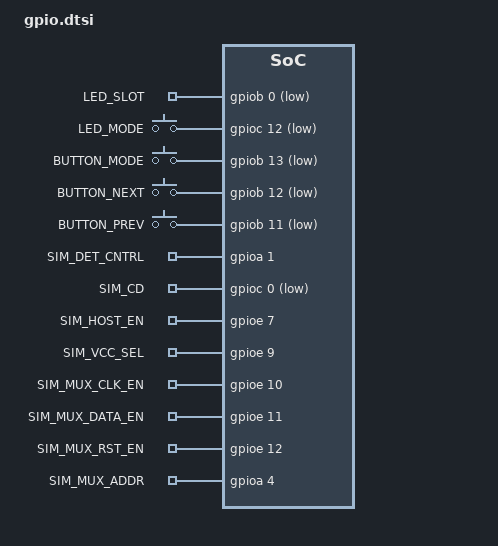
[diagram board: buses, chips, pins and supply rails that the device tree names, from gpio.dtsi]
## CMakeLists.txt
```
# Copyright 2023 The ChromiumOS Authors
# Use of this source code is governed by a BSD-style license that can be
# found in the LICENSE file.

# Placeholder for future CLs in the starfish/src and starfish/include

cmake_minimum_required(VERSION 3.20.5)

find_package(Zephyr REQUIRED HINTS "${ZEPHYR_BASE}")

zephyr_include_directories(include)

zephyr_library_sources(src/buttons.c)
zephyr_library_sources(src/leds.c)
zephyr_library_sources(src/sim.c)
zephyr_library_sources(src/sim_button.c)
zephyr_library_sources(src/sim_console.c)
zephyr_library_sources(src/sim_gpio.c)
zephyr_library_sources(src/sim_info.c)
zephyr_library_sources(src/sim_persist.c)
zephyr_library_sources(src/sim_timer.c)
```

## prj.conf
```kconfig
# Copyright 2023 The ChromiumOS Authors
# Use of this source code is governed by a BSD-style license that can be
# found in the LICENSE file.

# Configure Debug Logger
CONFIG_LOG=y
CONFIG_LOG_BACKEND_FORMAT_TIMESTAMP=n
CONFIG_LOG_BUFFER_SIZE=4096
CONFIG_LOG_DEFAULT_LEVEL=4
CONFIG_LOG_TIMESTAMP_64BIT=y

# Configure Shell
CONFIG_SHELL=y
CONFIG_SHELL_ECHO_STATUS=y
CONFIG_SHELL_GETOPT=n
CONFIG_SHELL_HELP=y
CONFIG_SHELL_HELP_OPT_PARSE=n
CONFIG_SHELL_HISTORY=y
CONFIG_SHELL_LOG_BACKEND=y
CONFIG_SHELL_LOG_FORMAT_TIMESTAMP=n
CONFIG_SHELL_MINIMAL=y
CONFIG_SHELL_PROMPT_UART="Starfish:~$ "

# Configure USB
CONFIG_USB_DEVICE_INITIALIZE_AT_BOOT=y
CONFIG_USB_DEVICE_PID=0x5060
CONFIG_USB_DEVICE_PRODUCT="Starfish"
CONFIG_USB_DEVICE_STACK=y
CONFIG_USE_DT_CODE_PARTITION=y
```

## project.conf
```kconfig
# Copyright 2023 The ChromiumOS Authors
# Use of this source code is governed by a BSD-style license that can be
# found in the LICENSE file.

# Configure Board name
CONFIG_BOARD_STARFISH_V1=y

# Enable the DFU Bootloader
CONFIG_DFU_BOOTLOADER=y

# Configure Debug Logger
CONFIG_LOG=y
CONFIG_LOG_BACKEND_FORMAT_TIMESTAMP=n
CONFIG_LOG_BUFFER_SIZE=4096
CONFIG_LOG_DEFAULT_LEVEL=3
CONFIG_LOG_TIMESTAMP_64BIT=y

CONFIG_ADC=y
CONFIG_ADC_SHELL=y
CONFIG_ADC_STM32=y
CONFIG_ADC_LOG_LEVEL_DBG=y

# Configure Shell
CONFIG_SHELL=y
CONFIG_SHELL_ECHO_STATUS=y
CONFIG_SHELL_GETOPT=n
CONFIG_SHELL_HELP=y
CONFIG_SHELL_HELP_OPT_PARSE=n
CONFIG_SHELL_HISTORY=y
CONFIG_SHELL_LOG_BACKEND=y
CONFIG_SHELL_LOG_FORMAT_TIMESTAMP=n
CONFIG_SHELL_MINIMAL=y
CONFIG_SHELL_PROMPT_UART="Starfish:~$ "

# Configure USB
CONFIG_USB_DEVICE_INITIALIZE_AT_BOOT=y
CONFIG_USB_DEVICE_PID=0x5060
CONFIG_USB_DEVICE_PRODUCT="Starfish"
CONFIG_USB_DEVICE_STACK=y

# Configure Flash partitions
CONFIG_USE_DT_CODE_PARTITION=y


CONFIG_FLASH=y
CONFIG_FLASH_PAGE_LAYOUT=y
CONFIG_FLASH_MAP=y
CONFIG_FCB=y

CONFIG_SETTINGS=y
CONFIG_SETTINGS_RUNTIME=y
CONFIG_SETTINGS_FCB=y

CONFIG_MPU_ALLOW_FLASH_WRITE=y

CONFIG_RING_BUFFER=y

CONFIG_WATCHDOG=y
CONFIG_TASK_WDT=y
```

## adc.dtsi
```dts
/* Copyright 2023 The Chromium OS Authors. All rights reserved.
 * Use of this source code is governed by a BSD-style license that can be
 * found in the LICENSE file.
 */

/ {
	zephyr,user {
		/* adjust channel number according to pinmux in board.dts */
		io-channels = <&adc1 0>;
	};
};

&adc1 {
	pinctrl-0 = <&adc1_in1_pa0>;
	pinctrl-names = "default";
	status = "okay";
	#address-cells = <1>;
	#size-cells = <0>;

	channel@0 {
		reg = <0>;
		zephyr,gain = "ADC_GAIN_1";
		zephyr,reference = "ADC_REF_INTERNAL";
		zephyr,acquisition-time = <ADC_ACQ_TIME_DEFAULT>;
		zephyr,resolution = <12>;
	};
};
```

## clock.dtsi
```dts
/* Copyright 2023 The ChromiumOS Authors
 * Use of this source code is governed by a BSD-style license that can be
 * found in the LICENSE file.
 */

&clk_hsi48 {
	status = "okay";
};

&clk_hsi{
	status = "okay";
};

&pll {
	div-m = <4>;
	mul-n = <75>;
	div-p = <7>;
	div-q = <2>;
	div-r = <2>;
	clocks = <&clk_hsi>;
	status = "okay";
};

&rcc {
	clocks = <&pll>;
	clock-frequency = <DT_FREQ_M(48)>;
	ahb-prescaler = <1>;
	apb1-prescaler = <1>;
	apb2-prescaler = <1>;
};
```

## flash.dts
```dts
/* Copyright 2023 The ChromiumOS Authors
 * Use of this source code is governed by a BSD-style license that can be
 * found in the LICENSE file.
 */

/ {
	chosen {
		zephyr,code-partition = &boot_partition;
		zephyr,flash = &flash0;
	};
};

&flash0 {

	partitions {
		compatible = "fixed-partitions";
		#address-cells = <1>;
		#size-cells = <1>;

		boot_partition: partition@0 {
			label = "boot";
			reg = <0x00000000 DT_SIZE_K(256)>;
		};

		storage_partition: partition@1f000 {
			label = "storage";
			reg = <0x0001f000 DT_SIZE_K(4)>;
		};
	};
};
```

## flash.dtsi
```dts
/* Copyright 2023 The ChromiumOS Authors
 * Use of this source code is governed by a BSD-style license that can be
 * found in the LICENSE file.
 */

/ {
	chosen {
		zephyr,code-partition = &boot_partition;
		zephyr,flash = &flash0;
	};
};

&flash0 {

	partitions {
		compatible = "fixed-partitions";
		#address-cells = <1>;
		#size-cells = <1>;

		boot_partition: partition@0 {
			label = "boot";
			reg = <0x00000000 DT_SIZE_K(116)>;
		};

		storage_partition: partition@1d000 {
			label = "storage";
			reg = <0x0001d000 DT_SIZE_K(12)>;
		};
	};
};
```

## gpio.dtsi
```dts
/* Copyright 2023 The Chromium OS Authors. All rights reserved.
 * Use of this source code is governed by a BSD-style license that can be
 * found in the LICENSE file.
 */

/ {
	gpio {
		led {
			compatible = "gpio-keys";
			label = "LED";
			led_sim_slot {
				label = "LED_SLOT";
				gpios = <&gpiob 0 GPIO_ACTIVE_LOW>,
						<&gpiob 1 GPIO_ACTIVE_LOW>,
						<&gpiob 2 GPIO_ACTIVE_LOW>,
						<&gpiob 3 GPIO_ACTIVE_LOW>,
						<&gpiob 5 GPIO_ACTIVE_LOW>,
						<&gpiob 9 GPIO_ACTIVE_LOW>,
						<&gpiob 10 GPIO_ACTIVE_LOW>,
						<&gpiob 15 GPIO_ACTIVE_LOW>;
			};
			led_mode {
				label = "LED_MODE";
				gpios = <&gpioc 12 GPIO_ACTIVE_LOW>,
						<&gpioc 13 GPIO_ACTIVE_LOW>;
			};
		};
		button {
			compatible = "gpio-keys";
			label = "BUTTON";
			mode {
				label = "BUTTON_MODE";
				gpios = <&gpiob 13 (GPIO_ACTIVE_LOW)>;
			};
			next {
				label = "BUTTON_NEXT";
				gpios = <&gpiob 12 GPIO_ACTIVE_LOW>;
			};
			prev {
				label = "BUTTON_PREV";
				gpios = <&gpiob 11 GPIO_ACTIVE_LOW>;
			};
		};
		sim {
			compatible = "gpio-keys";
			label = "SIM";
			sim_det_cntrl {
				label = "SIM_DET_CNTRL";
				gpios = <&gpioa 1 GPIO_ACTIVE_HIGH>;
			};
			chip_detect {
				label = "SIM_CD";
				gpios = <&gpioc 0 GPIO_ACTIVE_LOW>,
						<&gpioc 1 GPIO_ACTIVE_LOW>,
						<&gpioc 2 GPIO_ACTIVE_LOW>,
						<&gpioc 3 GPIO_ACTIVE_LOW>,
						<&gpioc 4 GPIO_ACTIVE_LOW>,
						<&gpioc 5 GPIO_ACTIVE_LOW>,
						<&gpioc 6 GPIO_ACTIVE_LOW>,
						<&gpioc 7 GPIO_ACTIVE_LOW>;
			};
			/* Control the voltage shifter */
			sim_host_en {
				label = "SIM_HOST_EN";
				gpios = <&gpioe 7 GPIO_ACTIVE_HIGH>;
			};
			sim_vcc_sel {
				label = "SIM_VCC_SEL";
				gpios = <&gpioe 9 GPIO_ACTIVE_HIGH>;
			};
			/* Control the ESIM Muxes */
			sim_mux_clk_en {
				label = "SIM_MUX_CLK_EN";
				gpios = <&gpioe 10 GPIO_ACTIVE_HIGH>;
			};
			sim_mux_data_en {
				label = "SIM_MUX_DATA_EN";
				gpios = <&gpioe 11 GPIO_ACTIVE_HIGH>;
			};
			sim_mux_rst_en {
				label = "SIM_MUX_RST_EN";
				gpios = <&gpioe 12 GPIO_ACTIVE_HIGH>;
			};
			sim_mux_addr {
				label = "SIM_MUX_ADDR";
				gpios = <&gpioa 4 GPIO_ACTIVE_HIGH>,
						<&gpioa 5 GPIO_ACTIVE_HIGH>,
						<&gpioa 6 GPIO_ACTIVE_HIGH>;
			};
		};
	};
};
```

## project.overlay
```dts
/* Copyright 2023 The ChromiumOS Authors
 * Use of this source code is governed by a BSD-style license that can be
 * found in the LICENSE file.
 */

#include "adc.dtsi"
#include "clock.dtsi"
#include "flash.dtsi"
#include "gpio.dtsi"
#include "uart.dtsi"
#include "usb.dtsi"
```

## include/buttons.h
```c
/* Copyright 2023 The ChromiumOS Authors
 * Use of this source code is governed by a BSD-style license that can be
 * found in the LICENSE file.
 */

#ifndef __CROS_EC_STARFISH_BUTTON_H__
#define __CROS_EC_STARFISH_BUTTON_H__

#include "gpio_helper.h"

#include <zephyr/kernel.h>

enum BUTTON_STATE {
	/* Button is cleared and is not pressed. */
	BUTTON_INACTIVE,
	/* Button is currently being pressed. */
	BUTTON_HELD,
	/* Marker to identify pending events. */
	BUTTON_PENDING_EVENT_START,
	/* Button has a short press event. */
	BUTTON_SHORT = BUTTON_PENDING_EVENT_START,
	/* Button has a long press event. */
	BUTTON_LONG,
};

#endif /* __CROS_EC_STARFISH_BUTTON_H__ */
```

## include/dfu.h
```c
/* Copyright 2023 The ChromiumOS Authors
 * Use of this source code is governed by a BSD-style license that can be
 * found in the LICENSE file.
 */

#ifndef __CROS_EC_STARFISH_DFU_H__
#define __CROS_EC_STARFISH_DFU_H__

#include <zephyr/toolchain.h>

/* Lacking Zephyr header */
extern void arm_core_mpu_disable(void);

/*
 * Performs checks to identify boot behavior. This may trigger a reboot
 * to enter DFU or to clear the DFU state.
 */
void dfu_boot_check(void);

/*
 * Sets up the device to enter DFU mode. The system will reboot.
 */
FUNC_NORETURN void dfu_enter(void);

#endif /* __CROS_EC_STARFISH_DFU_H__ */
```

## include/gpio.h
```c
/* Copyright 2023 The ChromiumOS Authors
 * Use of this source code is governed by a BSD-style license that can be
 * found in the LICENSE file.
 */

#ifndef __CROS_EC_STARFISH_GPIO_H__
#define __CROS_EC_STARFISH_GPIO_H__

#include <zephyr/drivers/gpio.h>

enum GPIO_LABEL {
	GPIO_LABEL_BUTTON_MODE,
	GPIO_LABEL_BUTTON_NEXT,
	GPIO_LABEL_BUTTON_PREV,
	GPIO_LABEL_HOST_DET_CTRL,
	GPIO_LABEL_LED_MODE,
	GPIO_LABEL_LED_SLOT,
	GPIO_LABEL_SIM_HOST_EN,
	GPIO_LABEL_SIM_MUX_ADDR,
	GPIO_LABEL_SIM_MUX_EN,
	GPIO_LABEL_SIM_CD,
	GPIO_LABEL_SIM_VCC_SEL,
};

/*
 * Defines a GPIO context state which
 */
struct gpio_ctx {
	/* GPIO pin spec */
	struct gpio_dt_spec spec;
	/* GPIO group label */
	enum GPIO_LABEL label;
	/* GPIO group index */
	int idx;
};

/*
 * Defines the comma ',' character in the preprocessor and is needed for
 * other macro expansions. The presubmit check does not like this or any
 * other variation found which actually compiles correctly.
 */
#define COMMA (, )

/*
 * Internal definitions used to help create GPIO_CTX structs
 * by navigating the device tree
 */
#define _GPIO_CTX(node, y, idx_)                                              \
	{                                                                     \
		.gpio = {                                                     \
			.spec = GPIO_DT_SPEC_GET_BY_IDX(node, gpios, idx_),   \
			.label = _CONCAT(GPIO_LABEL_,                         \
					 DT_STRING_UPPER_TOKEN(node, label)), \
			.idx = idx_,                                          \
		}                                                             \
	}
#define _GPIO_CB(node) DT_FOREACH_PROP_ELEM_SEP(node, gpios, _GPIO_CTX, COMMA)

/*
 * Helper macro that allows us to create a array of structs for each GPIO
 * within a node label. GPIOs are tagged with one of the enum GPIO_LABEL
 * values and an index which allow us to identify groupings.
 */
#define GPIO_LIST_CTX(node) \
	DT_FOREACH_CHILD_SEP(DT_PATH(gpio, node), _GPIO_CB, COMMA)

#endif /* __CROS_EC_STARFISH_GPIO_H__ */
```

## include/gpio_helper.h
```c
/* Copyright 2023 The ChromiumOS Authors
 * Use of this source code is governed by a BSD-style license that can be
 * found in the LICENSE file.
 */

#ifndef __CROS_EC_STARFISH_GPIO_H__
#define __CROS_EC_STARFISH_GPIO_H__

#include <zephyr/drivers/gpio.h>

enum GPIO_LABEL {
	GPIO_LABEL_BUTTON_MODE,
	GPIO_LABEL_BUTTON_NEXT,
	GPIO_LABEL_BUTTON_PREV,
	GPIO_LABEL_VCC_SIM_HOST_SNS,
	GPIO_LABEL_LED_MODE,
	GPIO_LABEL_LED_SLOT,
	GPIO_LABEL_SIM_HOST_EN,
	GPIO_LABEL_SIM_MUX_ADDR,
	GPIO_LABEL_SIM_MUX_CLK_EN,
	GPIO_LABEL_SIM_DET_CNTRL,
	GPIO_LABEL_SIM_MUX_DATA_EN,
	GPIO_LABEL_SIM_MUX_RST_EN,
	GPIO_LABEL_SIM_CD,
	GPIO_LABEL_SIM_VCC_SEL,
};

/*
 * Defines a GPIO context state which
 */
struct gpio_ctx {
	/* GPIO pin spec */
	struct gpio_dt_spec spec;
	/* GPIO group label */
	enum GPIO_LABEL label;
	/* GPIO group index */
	int idx;
};

#define _GPIO_CTX(node, y, idx_)                                              \
	{                                                                     \
		.gpio = {                                                     \
			.spec = GPIO_DT_SPEC_GET_BY_IDX(node, gpios, idx_),   \
			.label = _CONCAT(GPIO_LABEL_,                         \
					 DT_STRING_UPPER_TOKEN(node, label)), \
			.idx = idx_,                                          \
		}                                                             \
	}

#define COMMA (, )
#define _GPIO_CB(node) DT_FOREACH_PROP_ELEM_SEP(node, gpios, _GPIO_CTX, COMMA)

#define GPIO_LIST_CTX(node) \
	DT_FOREACH_CHILD_SEP(DT_PATH(gpio, node), _GPIO_CB, COMMA)

#endif /* __CROS_EC_STARFISH_GPIO_H__ */
```

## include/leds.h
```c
/* Copyright 2023 The ChromiumOS Authors
 * Use of this source code is governed by a BSD-style license that can be
 * found in the LICENSE file.
 */

#ifndef __CROS_EC_STARFISH_BUTTON_H__
#define __CROS_EC_STARFISH_BUTTON_H__

#include <zephyr/kernel.h>

enum BUTTON_STATE {
	/* Button is cleared and is not pressed. */
	BUTTON_INACTIVE,
	/* Button is currently being pressed. */
	BUTTON_HELD,
	/* Marker to identify pending events. */
	BUTTON_PENDING_EVENT_START,
	/* Button has a short press event. */
	BUTTON_SHORT = BUTTON_PENDING_EVENT_START,
	/* Button has a long press event. */
	BUTTON_LONG,
};

void sim_led_update(void);

#endif /* __CROS_EC_STARFISH_BUTTON_H__ */
```

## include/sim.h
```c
/* Copyright 2023 The Chromium OS Authors. All rights reserved.
 * Use of this source code is governed by a BSD-style license that can be
 * found in the LICENSE file.
 */

#ifndef __CROS_EC_STARFISH_SIM_H__
#define __CROS_EC_STARFISH_SIM_H__

#include <stdint.h>

#define NUM_SIMS (8)

enum MUX_CHANGE_SRC {
    MUX_SOURCE_DIRECT,
    MUX_SOURCE_CONSOLE,
    MUX_SOURCE_BUTTON,
};

struct mux_state {
    /* 0-7 indicates the slot number */
    uint8_t slot_number;
    /* Remember the last SIM card */
    bool enabled;
};

struct mux_state_ts {
    struct mux_state mux;
    /* Timestamp of a state, negative indicates invalid. */
    int64_t timestamp;
};

struct sim_mux_ctrl {
    /* Current sim mux state */
    struct mux_state_ts mux_states[3];
    /* Remember the last SIM card when rebooting */
    uint8_t future_cnt;
    /* Remember the last SIM card when rebooting */
    bool remember;
};

void sim_slot_init(void);

const struct sim_mux_ctrl *sim_slot_state(void);

const struct mux_state *sim_slot_get_current_mux(void);
const struct mux_state *sim_slot_get_desired_mux(void);

void sim_slot_save_mux_boot(bool store);

uint8_t sim_slot_get_detected_sims(void);

uint8_t get_adjacent_sim(uint8_t start, bool higher);

void sim_slot_change(const struct mux_state *state, enum MUX_CHANGE_SRC src);

/**
 * Return the time until the next sim slot update.
 *
 * Returns a negative value if no updates are required.
 * @return  [description]
 */
int64_t sim_slot_update_delay(void);

void sim_slot_handle_update(void);

void sim_task_wakup(void);

#endif /* __CROS_EC_STARFISH_SIM_H__ */
```

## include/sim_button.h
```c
/* Copyright 2023 The Chromium OS Authors. All rights reserved.
 * Use of this source code is governed by a BSD-style license that can be
 * found in the LICENSE file.
 */

#ifndef __CROS_EC_STARFISH_SIM_BUTTON_H__
#define __CROS_EC_STARFISH_SIM_BUTTON_H__

#include "buttons.h"
#include "gpio_helper.h"

enum SIM_BUTTON_EVENT {
    SIM_BUTTON_EVENT_MODE_SHORT,
    SIM_BUTTON_EVENT_MODE_LONG,
	SIM_BUTTON_EVENT_NEXT,
	SIM_BUTTON_EVENT_PREV,
};

struct button_ctrl {
	/* Indicates if buttons are enabled or disabled. */
	bool enabled;
};

void sim_button_save(const struct button_ctrl *new_state, bool reset, bool store);

void sim_button_init(void);
const struct button_ctrl *sim_button_state(void);

void sim_button_event(enum GPIO_LABEL button, enum BUTTON_STATE state);


#endif /* __CROS_EC_STARFISH_SIM_BUTTON_H__ */
```

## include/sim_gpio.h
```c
/* Copyright 2023 The Chromium OS Authors. All rights reserved.
 * Use of this source code is governed by a BSD-style license that can be
 * found in the LICENSE file.
 */

#ifndef __CROS_EC_STARFISH_SIM_GPIO_H__
#define __CROS_EC_STARFISH_SIM_GPIO_H__

#include <stdint.h>
#include "gpio_helper.h"

int read_adc(void);

/*
 * Initialize the SIM Pins
 */
void sim_gpio_init(void);



int write_gpio(enum GPIO_LABEL label, int idx, bool state);
int read_gpio(enum GPIO_LABEL label, int idx);

#endif /* __CROS_EC_STARFISH_SIM_GPIO_H__ */
```

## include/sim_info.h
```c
/* Copyright 2023 The Chromium OS Authors. All rights reserved.
 * Use of this source code is governed by a BSD-style license that can be
 * found in the LICENSE file.
 */

#ifndef __CROS_EC_STARFISH_SIM_INFO_H__
#define __CROS_EC_STARFISH_SIM_INFO_H__

#include <stdint.h>

struct slot_name {
	char name[64];
};

void sim_setting_set_slot_id(int slot_number, int32_t *in);
bool sim_setting_get_slot_id(int slot_number, int32_t *out);

void sim_setting_set_slot_name(int slot_number, struct slot_name *in);
bool sim_setting_get_slot_name(int slot_number, struct slot_name *out);


#endif /* __CROS_EC_STARFISH_SIM_INFO_H__ */
```

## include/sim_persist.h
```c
/* Copyright 2023 The Chromium OS Authors. All rights reserved.
 * Use of this source code is governed by a BSD-style license that can be
 * found in the LICENSE file.
 */

#ifndef __CROS_EC_STARFISH_SIM_PERSIST_H__
#define __CROS_EC_STARFISH_SIM_PERSIST_H__

struct storage_result {
    void *buffer;
    size_t bufferSize;
    size_t minSize;
    size_t maxSize;
    size_t size;
};

#define INIT_STORAGE_RESULT(data)                            \
    {                                                    \
        .buffer = &data,    \
        .bufferSize = sizeof(data), \
        .minSize = sizeof(data),    \
        .maxSize = sizeof(data),    \
    }

#define SIM_ERASE_FIELD(name)   sim_persist_save(name, NULL, 0)

#define SIM_SAVE_FIELD(name, data)      sim_persist_save(name, &data, sizeof(data))

bool sim_persist_load(const char *key, struct storage_result *result);

bool sim_persist_save(const char *key, const void *src, size_t len);

bool sim_persist_erase();

void sim_persist_status();

#endif /* __CROS_EC_STARFISH_SIM_PERSIST_H__ */
```

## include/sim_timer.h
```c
/* Copyright 2023 The Chromium OS Authors. All rights reserved.
 * Use of this source code is governed by a BSD-style license that can be
 * found in the LICENSE file.
 */

#ifndef __CROS_EC_STARFISH_SIM_TIMER_H__
#define __CROS_EC_STARFISH_SIM_TIMER_H__

#include <stdint.h>

struct timer_state {
	/* Remember the last SIM card */
	int32_t disconnection;
	/* Delay before responding to button presses. */
	int32_t button_response_delay;
};

void sim_timer_init(void);

const struct timer_state *sim_timer_state(void);

void sim_timer_set(int32_t timeout, bool reset, bool store);

#endif /* __CROS_EC_STARFISH_SIM_TIMER_H__ */
```

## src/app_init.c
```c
/* Copyright 2023 The ChromiumOS Authors
 * Use of this source code is governed by a BSD-style license that can be
 * found in the LICENSE file.
 */

#include "dfu.h"

#include <zephyr/init.h>
#include <zephyr/kernel.h>

/*
 * Handle the final application initialization before starting threads.
 */
int app_init(const struct device *device)
{
	UNUSED(device);
	dfu_boot_check();
	return 0;
}

SYS_INIT(app_init, APPLICATION, CONFIG_APPLICATION_INIT_PRIORITY);
```
